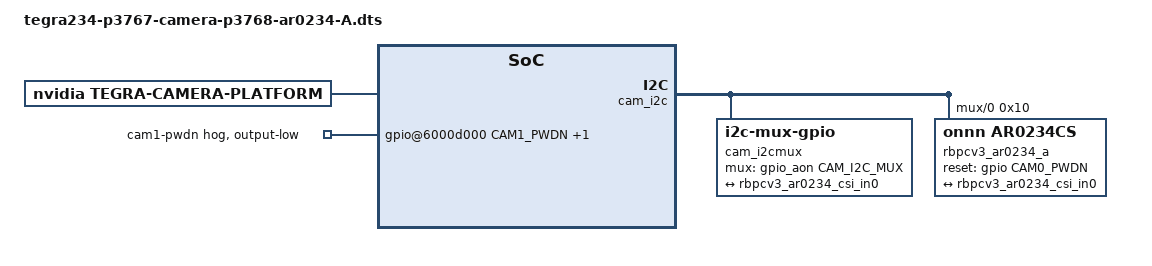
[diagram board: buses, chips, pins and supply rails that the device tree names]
// SPDX-License-Identifier: GPL-2.0-only
// SPDX-FileCopyrightText: Copyright (c) 2025, NVIDIA CORPORATION & AFFILIATES. All rights reserved.
// SPDX-FileCopyrightText: Copyright (c) 2026, UAB Kurokesu. All rights reserved.

/dts-v1/;
/plugin/;

#define CAM0_PWDN	TEGRA234_MAIN_GPIO(H, 6)
#define CAM1_PWDN	TEGRA234_MAIN_GPIO(AC, 0)
#define CAM_I2C_MUX 	TEGRA234_AON_GPIO(CC, 3)

#include <dt-bindings/tegra234-p3767-0000-common.h>

/ {
	overlay-name = "Camera AR0234-A";
	jetson-header-name = "Jetson 22pin CSI Connector";
	compatible = JETSON_COMPATIBLE_P3768;
	/* AR0234 connected to cam0 port */

	fragment@0 {
		target-path = "/";
		__overlay__ {
			tegra-capture-vi {
				num-channels = <1>;
				ports {
					#address-cells = <1>;
					#size-cells = <0>;
					port@0 {
						reg = <0>;
						rbpcv3_ar0234_vi_in0: endpoint {
							port-index = <1>;
							bus-width = <2>;
							remote-endpoint = <&rbpcv3_ar0234_csi_out0>;
						};
					};
				};
			};
			tegra-camera-platform {
				compatible = "nvidia, tegra-camera-platform";
				/**
				* Physical settings to calculate max ISO BW
				*
				* num_csi_lanes = <>;
				* Total number of CSI lanes when all cameras are active
				*
				* max_lane_speed = <>;
				* Max lane speed in Kbit/s
				*
				* min_bits_per_pixel = <>;
				* Min bits per pixel
				*
				* vi_peak_byte_per_pixel = <>;
				* Max byte per pixel for the VI ISO case
				*
				* vi_bw_margin_pct = <>;
				* Vi bandwidth margin in percentage
				*
				* max_pixel_rate = <>;
				* Max pixel rate in Kpixel/s for the ISP ISO case
				*
				* isp_peak_byte_per_pixel = <>;
				* Max byte per pixel for the ISP ISO case
				*
				* isp_bw_margin_pct = <>;
				* Isp bandwidth margin in percentage
				*/
				num_csi_lanes = <4>;
				max_lane_speed = <1500000>;
				min_bits_per_pixel = <10>;
				vi_peak_byte_per_pixel = <2>;
				vi_bw_margin_pct = <25>;
				max_pixel_rate = <7500000>;
				isp_peak_byte_per_pixel = <5>;
				isp_bw_margin_pct = <25>;
				/**
				 * The general guideline for naming badge_info contains 3 parts, and is as follows,
				 * The first part is the camera_board_id for the module; if the module is in a FFD
				 * platform, then use the platform name for this part.
				 * The second part contains the position of the module, ex. "rear" or "front".
				 * The third part contains the last 6 characters of a part number which is found
				 * in the module's specsheet from the vendor.
				 */
				modules {
					module0 {
						badge = "kurokesu_front_234M12";
						position = "front";
						orientation = "0";
						drivernode0 {
							pcl_id = "v4l2_sensor";
							sysfs-device-tree = "/sys/firmware/devicetree/base/bus@0/cam_i2cmux/i2c@0/rbpcv3_ar0234_a@10";
						};
					};
				};
			};
			bus@0 {
				host1x@13e00000 {
					nvcsi@15a00000 {
						num-channels = <1>;
						#address-cells = <1>;
						#size-cells = <0>;
						channel@0 {
							reg = <0>;
							ports {
								#address-cells = <1>;
								#size-cells = <0>;
								port@0 {
									reg = <0>;
									rbpcv3_ar0234_csi_in0: endpoint@0 {
										port-index = <1>;
										bus-width = <2>;
										remote-endpoint = <&rbpcv3_ar0234_out0>;
									};
								};
								port@1 {
									reg = <1>;
									rbpcv3_ar0234_csi_out0: endpoint@1 {
										remote-endpoint = <&rbpcv3_ar0234_vi_in0>;
									};
								};
							};
						};
					};
				};
				cam_i2cmux {
					status = "okay";
					compatible = "i2c-mux-gpio";
					#address-cells = <1>;
					#size-cells = <0>;
					mux-gpios = <&gpio_aon CAM_I2C_MUX GPIO_ACTIVE_HIGH>;
					i2c-parent = <&cam_i2c>;
					i2c@0 {
						status = "okay";
						reg = <0>;
						#address-cells = <1>;
						#size-cells = <0>;
						rbpcv3_ar0234_a@10 {
							reset-gpios = <&gpio CAM0_PWDN GPIO_ACTIVE_HIGH>;
							compatible = "onnn,ar0234cs";
							/* I2C device address */
							reg = <0x10>;
							/* V4L2 device node location */
							devnode = "video0";
							/* Physical dimensions of sensor */
							physical_w = "5.78";
							physical_h = "3.62";
							sensor_model = "ar0234";
							/* Define any required hw resources needed by driver */
							/* ie. clocks, io pins, power sources */
							/* Defines number of frames to be dropped by driver internally after applying */
							/* sensor crop settings. Some sensors send corrupt frames after applying */
							/* crop co-ordinates */

							/* if true, delay gain setting by one frame to be in sync with exposure */
							delayed_gain = "false";

							/* Convert Gain to unit of dB (decibel) before passing to kernel driver */
							use_decibel_gain = "false";

							/* enable CID_SENSOR_MODE_ID for sensor modes selection */
							use_sensor_mode_id = "true";

							/**
							* ==== Modes ====
							* A modeX node is required to support v4l2 driver
							* implementation with NVIDIA camera software stack
							*
							* == Signal properties ==
							*
							* phy_mode = "";
							* PHY mode used by the MIPI lanes for this device
							*
							* tegra_sinterface = "";
							* CSI Serial interface connected to tegra
							* Incase of virtual HW devices, use virtual
							* For SW emulated devices, use host
							*
							* pix_clk_hz = "";
							* Sensor pixel clock used for calculations like exposure and framerate
							*
							* readout_orientation = "0";
							* Based on camera module orientation.
							* Only change readout_orientation if you specifically
							* Program a different readout order for this mode
							*
							* lane_polarity
							* Based on the camera connector pin.
							* CSIx_D0 | CSIx_D1 | CSI(X+1)_D0 | CSI(X+1)CSIx_D1
							*    LSB  |   BIT1  |     BIT2    |      MSB
							* if there is a polarity swap on any lane, the bit corrsponding
							* to the lane should be set
							* e.g. polarity swap on CSIx_D0 only -> lane_polarity = "1"; 0001
							* e.g. polarity swap on CSIx_D1 and CSI(X+1)_D0 -> lane_polarity = "6"; 0110
							*
							* == Image format Properties ==
							*
							* active_w = "";
							* Pixel active region width
							*
							* active_h = "";
							* Pixel active region height
							*
							* pixel_t = "";
							* The sensor readout pixel pattern
							*
							* line_length = "";
							* Pixel line length (width) for sensor mode.
							*
							* == Source Control Settings ==
							*
							* Gain factor used to convert fixed point integer to float
							* Gain range [min_gain/gain_factor, max_gain/gain_factor]
							* Gain step [step_gain/gain_factor is the smallest step that can be configured]
							* Default gain [Default gain to be initialized for the control.
							*     use min_gain_val as default for optimal results]
							* Framerate factor used to convert fixed point integer to float
							* Framerate range [min_framerate/framerate_factor, max_framerate/framerate_factor]
							* Framerate step [step_framerate/framerate_factor is the smallest step that can be configured]
							* Default Framerate [Default framerate to be initialized for the control.
							*     use max_framerate to get required performance]
							* Exposure factor used to convert fixed point integer to float
							* For convenience use 1 sec = 1000000us as conversion factor
							* Exposure range [min_exp_time/exposure_factor, max_exp_time/exposure_factor]
							* Exposure step [step_exp_time/exposure_factor is the smallest step that can be configured]
							* Default Exposure Time [Default exposure to be initialized for the control.
							*     Set default exposure based on the default_framerate for optimal exposure settings]
							*
							* gain_factor = ""; (integer factor used for floating to fixed point conversion)
							* min_gain_val = ""; (ceil to integer)
							* max_gain_val = ""; (ceil to integer)
							* step_gain_val = ""; (ceil to integer)
							* default_gain = ""; (ceil to integer)
							* Gain limits for mode
							*
							* exposure_factor = ""; (integer factor used for floating to fixed point conversion)
							* min_exp_time = ""; (ceil to integer)
							* max_exp_time = ""; (ceil to integer)
							* step_exp_time = ""; (ceil to integer)
							* default_exp_time = ""; (ceil to integer)
							* Exposure Time limits for mode (sec)
							*
							* framerate_factor = ""; (integer factor used for floating to fixed point conversion)
							* min_framerate = ""; (ceil to integer)
							* max_framerate = ""; (ceil to integer)
							* step_framerate = ""; (ceil to integer)
							* default_framerate = ""; (ceil to integer)
							* Framerate limits for mode (fps)
							*
							* embedded_metadata_height = "";
							* Sensor embedded metadata height in units of rows.
							* If sensor does not support embedded metadata value should be 0.
							*/
							mode0 { /* AR0234_MODE_1920X1200_2LANE */
								mclk_khz = "24000";
								num_lanes = "2";
								tegra_sinterface = "serial_b";
								phy_mode = "DPHY";
								discontinuous_clk = "no";
								dpcm_enable = "false";
								cil_settletime = "0";
								lane_polarity = "6";
								active_w = "1920";
								active_h = "1200";
								mode_type = "bayer";
								pixel_phase = "grbg";
								csi_pixel_bit_depth = "10";
								readout_orientation = "0";
								line_length = "2448";
								inherent_gain = "1";
								mclk_multiplier = "4";
								pix_clk_hz = "180000000";
								gain_factor = "100";
								framerate_factor = "1000000";
								exposure_factor = "1000000";
								min_gain_val = "169"; /* 1.68421 */
								max_gain_val = "1600"; /* 16.0 */
								step_gain_val = "1"; /* 0.01 */
								default_gain = "169";
								min_hdr_ratio = "1";
								max_hdr_ratio = "1";
								min_framerate = "2000000"; /* 2.0 fps */
								max_framerate = "60000000"; /* 60.0 fps */
								step_framerate = "1";
								default_framerate = "30000000"; /* 30.0 fps */
								min_exp_time = "28"; /* us */
								max_exp_time = "499909"; /* us */
								step_exp_time = "1";
								default_exp_time = "217"; /* us */
								embedded_metadata_height = "0";
							};
							ports {
								#address-cells = <1>;
								#size-cells = <0>;
								port@0 {
									reg = <0>;
									rbpcv3_ar0234_out0: endpoint {
										port-index = <1>;
										bus-width = <2>;
										remote-endpoint = <&rbpcv3_ar0234_csi_in0>;
									};
								};
							};
						};
					};
				};
				gpio@6000d000 {
					camera-control-output-low {
						gpio-hog;
						output-low;
						gpios = <CAM1_PWDN 0  CAM0_PWDN 0>;
						label = "cam1-pwdn", "cam0-pwdn";
					};
				};
			};
		};
	};
};
